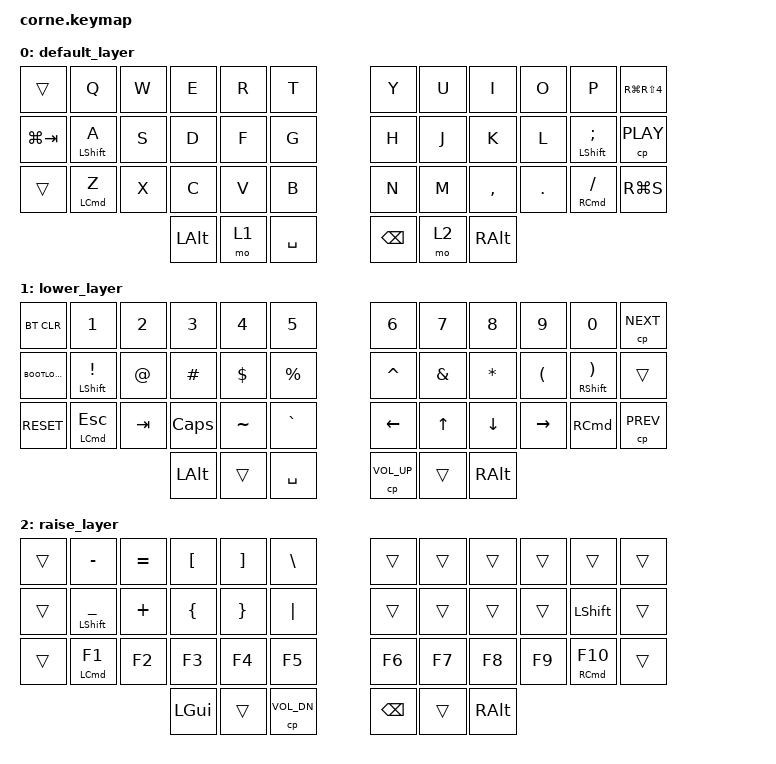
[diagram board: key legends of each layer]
/*
 * Copyright (c) 2020 The ZMK Contributors
 *
 * SPDX-License-Identifier: MIT
 */

#include <behaviors.dtsi>
#include <dt-bindings/zmk/keys.h>
#include <dt-bindings/zmk/bt.h>

&mt {
    tapping_term_ms = <420>;
};

 / {
    combos {
        compatible = "zmk,combos";
        combo_ent {
            timeout-ms = <50>;
            key-positions = <4 7>;
            bindings = <&kp ENTER>;
        };
        combo_quote {
            timeout-ms = <50>;
            key-positions = <17 18>;
            bindings = <&kp SQT>;
        };
        combo_ques {
            timeout-ms = <50>;
            key-positions = <28 31>;
            bindings = <&kp QUESTION>;
        };
        combo_dquote {
            timeout-ms = <50>;
            key-positions = <27 31>;
            bindings = <&kp DQT>;
        };
        combo_col {
            timeout-ms = <50>;
            key-positions = <5 6>;
            bindings = <&kp COLON>;
        };
        combo_unds {
            timeout-ms = <50>;
            key-positions = <29 30>;
            bindings = <&kp UNDER>;
        };
        combo_mins {
            timeout-ms = <50>;
            key-positions = <16 19>;
            bindings = <&kp MINUS>; 
        };
    };
}; 


/ {
        keymap {
                compatible = "zmk,keymap";

                default_layer {
                        bindings = <
   &trans       &kp Q        &kp W &kp E &kp R &kp T         &kp Y &kp U  &kp I     &kp O   &kp P           &kp RG(RS(N4))
   &kp LG(TAB)  &mt LSHFT A  &kp S &kp D &kp F &kp G         &kp H &kp J  &kp K     &kp L   &mt LSHFT SEMI  &cp C_PLAY
   &trans       &mt LCMD Z   &kp X &kp C &kp V &kp B         &kp N &kp M  &kp COMMA &kp DOT &mt RCMD FSLH   &kp RG(S)
                             &kp LALT &mo 1 &kp SPACE        &kp BSPC &mo 2 &kp RALT
                        >;
                };
                lower_layer {
                        bindings = <
   &bt BT_CLR &kp N1         &kp N2   &kp N3     &kp N4     &kp N5         &kp N6    &kp N7        &kp N8     &kp N9    &kp N0         &cp C_NEXT
   &BOOTLOADER     &mt LSHFT EXCL &kp AT   &kp HASH   &kp DLLR   &kp PRCNT      &kp CARET &kp AMPERSAND &kp ASTRK  &kp LPAR  &mt RSHFT RPAR &trans
   &RESET     &mt LCMD ESC   &kp TAB  &kp CAPS   &kp TILDE  &kp GRAVE      &kp LEFT  &kp UP        &kp DOWN   &kp RIGHT &kp RCMD       &cp C_PREV
                                            &kp LALT &trans &kp SPACE      &cp C_VOL_UP &trans &kp RALT
                        >;
                };

                raise_layer {
                        bindings = <
   &trans   &kp MINUS       &kp EQUAL &kp LBKT &kp RBKT &kp BSLH     &trans &trans &trans &trans &trans         &trans 
   &trans   &mt LSHFT UNDER &kp PLUS  &kp LBRC &kp RBRC &kp PIPE     &trans &trans &trans &trans &kp LSHFT      &trans
   &trans   &mt LCMD F1     &kp F2    &kp F3   &kp F4   &kp F5       &kp F6 &kp F7 &kp F8 &kp F9 &mt RCMD F10   &trans
                                   &kp LGUI &trans &cp C_VOL_DN      &kp BSPC &trans &kp RALT
                        >;
                };
        };
};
